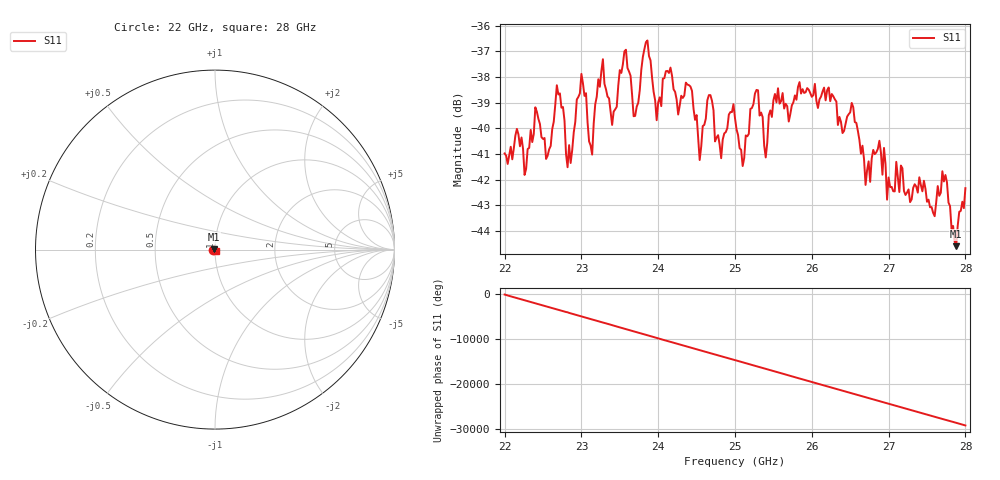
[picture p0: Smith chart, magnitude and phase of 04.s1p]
#  HZ  S  RI  R  50.00
! Rohde & Schwarz ZVA40 4Ports - Version 3.90 - 1145.1110k42 SN: 100403
! Date: 2023-10-04 08:26:43
! Measurement: S12
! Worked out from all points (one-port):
!   301 points, 22 GHz to 28 GHz, reference 50 ohm
!   lowest |S11| = -44.6 dB at 27.88 GHz (marker M1), VSWR 1.01, Z = 49.4 + j0.191 ohm
!   |S11| at or under -10 dB: start of sweep to end of sweep
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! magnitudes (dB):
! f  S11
! 22 GHz  -41.0
! 22.76 GHz  -39.2
! 22.86 GHz  -41.3
! 23 GHz  -37.9
! 23.14 GHz  -41.0
! 23.28 GHz  -37.3
! 23.4 GHz  -39.9
! 23.5 GHz  -37.7
! 23.7 GHz  -39.5
! 23.86 GHz  -36.6
! 23.98 GHz  -39.7
! 24.16 GHz  -37.6
! 24.26 GHz  -39.5
! 24.54 GHz  -41.2
! 25 GHz  -39.6
! 25.1 GHz  -41.5
! 25.28 GHz  -38.5
! 25.4 GHz  -41.1
! 25.52 GHz  -38.7
! 25.76 GHz  -39.0
! 26.5 GHz  -39.4
! 26.7 GHz  -42.2
! 26.88 GHz  -40.5
! 26.98 GHz  -42.8
! 27.26 GHz  -42.4
! 27.7 GHz  -41.7
! 27.88 GHz  -44.6
! 28 GHz  -42.3
